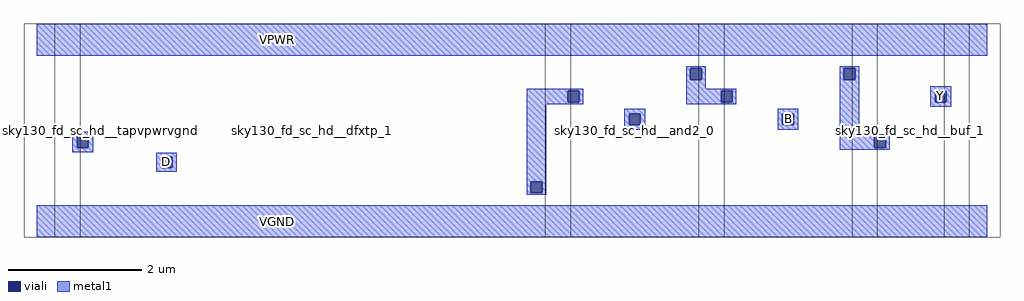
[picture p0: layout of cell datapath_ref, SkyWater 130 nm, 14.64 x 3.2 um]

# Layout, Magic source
magic
tech sky130A
magscale 1 2
<< viali >>
rect 1869 425 1903 459
rect 2329 425 2363 459
rect 1501 357 1535 391
rect 1961 357 1995 391
rect 2603 357 2637 391
rect 1685 289 1719 323
rect 2145 289 2179 323
rect 29 221 63 255
rect 2421 221 2455 255
rect 280 160 314 194
rect 1390 85 1424 119
<< metal1 >>
rect -92 496 2760 592
rect 1857 459 1915 465
rect 1857 425 1869 459
rect 1903 425 1915 459
rect 1857 397 1915 425
rect 2317 459 2375 465
rect 2317 425 2329 459
rect 2363 425 2375 459
rect 1378 391 1547 397
rect 1378 357 1501 391
rect 1535 357 1547 391
rect 1378 351 1547 357
rect 1857 391 2007 397
rect 1857 357 1961 391
rect 1995 357 2007 391
rect 1857 351 2007 357
rect 15 255 77 269
rect 15 221 29 255
rect 63 221 77 255
rect 15 207 77 221
rect 266 194 328 206
rect 266 160 280 194
rect 314 160 328 194
rect 266 148 328 160
rect 1378 119 1436 351
rect 1671 323 1733 337
rect 1671 289 1685 323
rect 1719 289 1733 323
rect 1671 275 1733 289
rect 2131 323 2193 337
rect 2131 289 2145 323
rect 2179 289 2193 323
rect 2131 275 2193 289
rect 2317 261 2375 425
rect 2589 391 2651 405
rect 2589 357 2603 391
rect 2637 357 2651 391
rect 2589 343 2651 357
rect 2317 255 2467 261
rect 2317 221 2421 255
rect 2455 221 2467 255
rect 2317 215 2467 221
rect 1378 85 1390 119
rect 1424 85 1436 119
rect 1378 79 1436 85
rect -92 -48 2760 48
use sky130_fd_sc_hd__and2_0  and1 $PDKPATH/libs.ref/sky130_fd_sc_hd/mag
transform 1 0 1472 0 1 0
box -38 -48 498 592
use sky130_fd_sc_hd__and2_0  and2
transform 1 0 1932 0 1 0
box -38 -48 498 592
use sky130_fd_sc_hd__buf_1  buf0 $PDKPATH/libs.ref/sky130_fd_sc_hd/mag
transform 1 0 2392 0 1 0
box -38 -48 314 592
use sky130_fd_sc_hd__dfxtp_1  dff0 $PDKPATH/libs.ref/sky130_fd_sc_hd/mag
transform 1 0 0 0 1 0
box -38 -48 1510 592
use sky130_fd_sc_hd__tapvpwrvgnd_1  tapL $PDKPATH/libs.ref/sky130_fd_sc_hd/mag
transform 1 0 -92 0 1 0
box -38 -48 130 592
use sky130_fd_sc_hd__tapvpwrvgnd_1  tapR
transform 1 0 2668 0 1 0
box -38 -48 130 592
<< labels >>
rlabel metal1 20 220 72 260 0 CLK
port 1 nsew
rlabel metal1 272 158 322 198 0 D
port 2 nsew
rlabel metal1 1676 288 1728 328 0 A
port 3 nsew
rlabel metal1 2136 288 2188 328 0 B
port 4 nsew
rlabel metal1 2594 356 2646 396 0 Y
port 5 nsew
rlabel metal1 600 -40 660 40 0 VGND
port 6 nsew
rlabel metal1 600 504 660 584 0 VPWR
port 7 nsew
<< end >>
